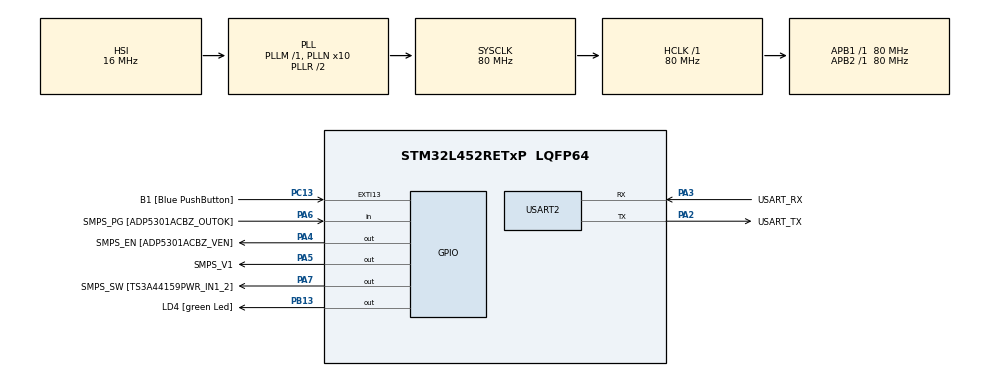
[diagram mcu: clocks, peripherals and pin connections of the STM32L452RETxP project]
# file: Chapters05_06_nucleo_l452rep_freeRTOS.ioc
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FREERTOS.Tasks01=defaultTask,24,128,StartDefaultTask,Default,NULL,Dynamic,NULL,NULL
Mcu.Family=STM32L4
Mcu.Name=STM32L452RETxP
Mcu.Package=LQFP64
NVIC.PriorityGroup=NVIC_PRIORITYGROUP_4
PA13\ (JTMS/SWDIO).GPIO_Label=TMS
PA13\ (JTMS/SWDIO).Mode=Serial_Wire
PA13\ (JTMS/SWDIO).Signal=SYS_JTMS-SWDIO
PA14\ (JTCK/SWCLK).GPIO_Label=TCK
PA14\ (JTCK/SWCLK).Mode=Serial_Wire
PA14\ (JTCK/SWCLK).Signal=SYS_JTCK-SWCLK
PA2.GPIO_Label=USART_TX
PA2.GPIO_Mode=GPIO_MODE_AF_PP
PA2.GPIO_PuPd=GPIO_NOPULL
PA2.GPIO_Speed=GPIO_SPEED_FREQ_VERY_HIGH
PA2.Mode=Asynchronous
PA2.Signal=USART2_TX
PA3.GPIO_Label=USART_RX
PA3.GPIO_Mode=GPIO_MODE_AF_PP
PA3.GPIO_PuPd=GPIO_NOPULL
PA3.GPIO_Speed=GPIO_SPEED_FREQ_VERY_HIGH
PA3.Mode=Asynchronous
PA3.Signal=USART2_RX
PA4.GPIO_Label=SMPS_EN [ADP5301ACBZ_VEN]
PA4.Signal=GPIO_Output
PA5.GPIO_Label=SMPS_V1
PA5.GPIO_ModeDefaultOutputPP=GPIO_MODE_OUTPUT_PP
PA5.GPIO_PuPd=GPIO_NOPULL
PA5.GPIO_Speed=GPIO_SPEED_FREQ_LOW
PA5.Signal=GPIO_Output
PA6.GPIO_Label=SMPS_PG [ADP5301ACBZ_OUTOK]
PA6.GPIO_PuPd=GPIO_PULLUP
PA6.Signal=GPIO_Input
PA7.GPIO_Label=SMPS_SW [TS3A44159PWR_IN1_2]
PA7.Signal=GPIO_Output
PB13.GPIO_Label=LD4 [green Led]
PB13.Signal=GPIO_Output
PB3\ (JTDO/TRACESWO).GPIO_Label=SWO
PB3\ (JTDO/TRACESWO).Signal=SYS_JTDO-SWO
PC13.GPIO_Label=B1 [Blue PushButton]
PC13.GPIO_ModeDefaultEXTI=GPIO_MODE_IT_FALLING
PC13.GPIO_PuPd=GPIO_NOPULL
PC13.Signal=GPXTI13
PC14-OSC32_IN\ (PC14).Mode=LSE-External-Oscillator
PC14-OSC32_IN\ (PC14).Signal=RCC_OSC32_IN
PC15-OSC32_OUT\ (PC15).Mode=LSE-External-Oscillator
PC15-OSC32_OUT\ (PC15).Signal=RCC_OSC32_OUT
PH0-OSC_IN\ (PH0).GPIO_Label=MCO
PH0-OSC_IN\ (PH0).Mode=HSE-External-Clock-Source
PH0-OSC_IN\ (PH0).Signal=RCC_OSC_IN
PH1-OSC_OUT\ (PH1).Signal=RCC_OSC_OUT
ProjectManager.HeapSize=0x200
ProjectManager.StackSize=0x400
ProjectManager.TargetToolchain=STM32CubeIDE
RCC.ADCFreq_Value=64000000
RCC.AHBFreq_Value=80000000
RCC.APB1Freq_Value=80000000
RCC.APB1TimFreq_Value=80000000
RCC.APB2Freq_Value=80000000
RCC.APB2TimFreq_Value=80000000
RCC.CortexFreq_Value=80000000
RCC.HCLKFreq_Value=80000000
RCC.HSE_VALUE=8000000
RCC.HSI48_VALUE=48000000
RCC.HSI_VALUE=16000000
RCC.MSI_VALUE=4000000
RCC.PLLN=10
RCC.PLLSourceVirtual=RCC_PLLSOURCE_HSI
RCC.PREFETCH_ENABLE=1
RCC.SYSCLKFreq_VALUE=80000000
RCC.SYSCLKSource=RCC_SYSCLKSOURCE_PLLCLK
RCC.USBFreq_Value=64000000
RCC.VCOOutputFreq_Value=160000000
USART2.VirtualMode-Asynchronous=VM_ASYNC
VP_FREERTOS_VS_CMSIS_V2.Mode=CMSIS_V2
board=NUCLEO-L452RE-P

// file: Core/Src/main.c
/* USER CODE BEGIN Header */
/**
  ******************************************************************************
  * @file           : main.c
  * @brief          : Main program body
  ******************************************************************************
  * @attention
  *
  * Copyright (c) 2022 STMicroelectronics.
  * All rights reserved.
  *
  * This software is licensed under terms that can be found in the LICENSE file
  * in the root directory of this software component.
  * If no LICENSE file comes with this software, it is provided AS-IS.
  *
  ******************************************************************************
  */
/* USER CODE END Header */
#include "main.h"
#include "cmsis_os.h"

/* USER CODE BEGIN Includes */
#include "bsp.h"
#include <task.h>
#include <SEGGER_SYSVIEW.h>
/* USER CODE END Includes */

UART_HandleTypeDef huart2;

/* Definitions for defaultTask */
osThreadId_t defaultTaskHandle;
const osThreadAttr_t defaultTask_attributes = {
  .name = "defaultTask",
  .stack_size = 128 * 4,
  .priority = (osPriority_t) osPriorityNormal,
};

void SystemClock_Config(void);
static void MX_GPIO_Init(void);
static void MX_USART2_UART_Init(void);
void StartDefaultTask(void *argument);

int main(void)
{

  /* MCU Configuration--------------------------------------------------------*/

  /* Reset of all peripherals, Initializes the Flash interface and the Systick. */
  HAL_Init();

  /* Configure the system clock */
  SystemClock_Config();

  /* Initialize all configured peripherals */
  MX_GPIO_Init();
  MX_USART2_UART_Init();

  /* Init scheduler */
  osKernelInitialize();

  /* Create the thread(s) */
  /* creation of defaultTask */
  defaultTaskHandle = osThreadNew(StartDefaultTask, NULL, &defaultTask_attributes);

  /* Start scheduler */
  osKernelStart();

  /* We should never get here as control is now taken by the scheduler */
  /* Infinite loop */
  while (1)
  {

  }
}

void SystemClock_Config(void)
{
  RCC_OscInitTypeDef RCC_OscInitStruct = {0};
  RCC_ClkInitTypeDef RCC_ClkInitStruct = {0};

  /** Configure the main internal regulator output voltage
  */
  if (HAL_PWREx_ControlVoltageScaling(PWR_REGULATOR_VOLTAGE_SCALE1) != HAL_OK)
  {
    Error_Handler();
  }
  /** Initializes the RCC Oscillators according to the specified parameters
  * in the RCC_OscInitTypeDef structure.
  */
  RCC_OscInitStruct.OscillatorType = RCC_OSCILLATORTYPE_HSI;
  RCC_OscInitStruct.HSIState = RCC_HSI_ON;
  RCC_OscInitStruct.HSICalibrationValue = RCC_HSICALIBRATION_DEFAULT;
  RCC_OscInitStruct.PLL.PLLState = RCC_PLL_ON;
  RCC_OscInitStruct.PLL.PLLSource = RCC_PLLSOURCE_HSI;
  RCC_OscInitStruct.PLL.PLLM = 1;
  RCC_OscInitStruct.PLL.PLLN = 10;
  RCC_OscInitStruct.PLL.PLLP = RCC_PLLP_DIV7;
  RCC_OscInitStruct.PLL.PLLQ = RCC_PLLQ_DIV2;
  RCC_OscInitStruct.PLL.PLLR = RCC_PLLR_DIV2;
  if (HAL_RCC_OscConfig(&RCC_OscInitStruct) != HAL_OK)
  {
    Error_Handler();
  }
  /** Initializes the CPU, AHB and APB buses clocks
  */
  RCC_ClkInitStruct.ClockType = RCC_CLOCKTYPE_HCLK|RCC_CLOCKTYPE_SYSCLK
                              |RCC_CLOCKTYPE_PCLK1|RCC_CLOCKTYPE_PCLK2;
  RCC_ClkInitStruct.SYSCLKSource = RCC_SYSCLKSOURCE_PLLCLK;
  RCC_ClkInitStruct.AHBCLKDivider = RCC_SYSCLK_DIV1;
  RCC_ClkInitStruct.APB1CLKDivider = RCC_HCLK_DIV1;
  RCC_ClkInitStruct.APB2CLKDivider = RCC_HCLK_DIV1;

  if (HAL_RCC_ClockConfig(&RCC_ClkInitStruct, FLASH_LATENCY_4) != HAL_OK)
  {
    Error_Handler();
  }
}

static void MX_USART2_UART_Init(void)
{

  huart2.Instance = USART2;
  huart2.Init.BaudRate = 115200;
  huart2.Init.WordLength = UART_WORDLENGTH_8B;
  huart2.Init.StopBits = UART_STOPBITS_1;
  huart2.Init.Parity = UART_PARITY_NONE;
  huart2.Init.Mode = UART_MODE_TX_RX;
  huart2.Init.HwFlowCtl = UART_HWCONTROL_NONE;
  huart2.Init.OverSampling = UART_OVERSAMPLING_16;
  huart2.Init.OneBitSampling = UART_ONE_BIT_SAMPLE_DISABLE;
  huart2.AdvancedInit.AdvFeatureInit = UART_ADVFEATURE_NO_INIT;
  if (HAL_UART_Init(&huart2) != HAL_OK)
  {
    Error_Handler();
  }

}

static void MX_GPIO_Init(void)
{
  GPIO_InitTypeDef GPIO_InitStruct = {0};

  /* GPIO Ports Clock Enable */
  __HAL_RCC_GPIOC_CLK_ENABLE();
  __HAL_RCC_GPIOH_CLK_ENABLE();
  __HAL_RCC_GPIOA_CLK_ENABLE();
  __HAL_RCC_GPIOB_CLK_ENABLE();

  /*Configure GPIO pin Output Level */
  HAL_GPIO_WritePin(GPIOA, SMPS_EN_Pin|SMPS_V1_Pin|SMPS_SW_Pin, GPIO_PIN_RESET);

  /*Configure GPIO pin Output Level */
  HAL_GPIO_WritePin(LD4_GPIO_Port, LD4_Pin, GPIO_PIN_RESET);

  /*Configure GPIO pin : B1_Pin */
  GPIO_InitStruct.Pin = B1_Pin;
  GPIO_InitStruct.Mode = GPIO_MODE_IT_FALLING;
  GPIO_InitStruct.Pull = GPIO_NOPULL;
  HAL_GPIO_Init(B1_GPIO_Port, &GPIO_InitStruct);

  /*Configure GPIO pins : SMPS_EN_Pin SMPS_V1_Pin SMPS_SW_Pin */
  GPIO_InitStruct.Pin = SMPS_EN_Pin|SMPS_V1_Pin|SMPS_SW_Pin;
  GPIO_InitStruct.Mode = GPIO_MODE_OUTPUT_PP;
  GPIO_InitStruct.Pull = GPIO_NOPULL;
  GPIO_InitStruct.Speed = GPIO_SPEED_FREQ_LOW;
  HAL_GPIO_Init(GPIOA, &GPIO_InitStruct);

  /*Configure GPIO pin : SMPS_PG_Pin */
  GPIO_InitStruct.Pin = SMPS_PG_Pin;
  GPIO_InitStruct.Mode = GPIO_MODE_INPUT;
  GPIO_InitStruct.Pull = GPIO_PULLUP;
  HAL_GPIO_Init(SMPS_PG_GPIO_Port, &GPIO_InitStruct);

  /*Configure GPIO pin : LD4_Pin */
  GPIO_InitStruct.Pin = LD4_Pin;
  GPIO_InitStruct.Mode = GPIO_MODE_OUTPUT_PP;
  GPIO_InitStruct.Pull = GPIO_NOPULL;
  GPIO_InitStruct.Speed = GPIO_SPEED_FREQ_LOW;
  HAL_GPIO_Init(LD4_GPIO_Port, &GPIO_InitStruct);

}

/* USER CODE BEGIN 4 */
void lookBusy( void );
const static uint32_t stackSize = 128;
void Task1(void *argument)
{
  BSP_LED_Init(LED_GREEN);
  while(1)
  {
//	SEGGER_SYSVIEW_PrintfHost("hey there!\n");
	BSP_LED_Toggle(LED_GREEN);
	//HAL_GPIO_WritePin(LD1_GPIO_Port, LD1_Pin, GPIO_PIN_SET);
	//GreenLed.On();
	vTaskDelay(105/ portTICK_PERIOD_MS);
	BSP_LED_Toggle(LED_GREEN);
	//HAL_GPIO_WritePin(LD1_GPIO_Port, LD1_Pin, GPIO_PIN_RESET);
	//GreenLed.Off();
	vTaskDelay(100/ portTICK_PERIOD_MS);
  }
}
void Task2( void* argument )
{
  BSP_LED_Init(LED_BLUE);
  while(1)
  {
	SEGGER_SYSVIEW_PrintfHost("task 2 says 'Hi!'\n");
	BSP_LED_Toggle(LED_BLUE);
	//HAL_GPIO_WritePin(LD2_GPIO_Port, LD2_Pin, GPIO_PIN_SET);
	//BlueLed.On();
	vTaskDelay(200 / portTICK_PERIOD_MS);
	BSP_LED_Toggle(LED_BLUE);
	//HAL_GPIO_WritePin(LD2_GPIO_Port, LD2_Pin, GPIO_PIN_RESET);
	//BlueLed.Off();
	vTaskDelay(200 / portTICK_PERIOD_MS);
  }
}

void Task3( void* argument )
{
  BSP_LED_Init(LED_BLUE);
  while(1)
  {
	lookBusy();

	SEGGER_SYSVIEW_PrintfHost("task3\n");
	BSP_LED_Toggle(LED_RED);
	//HAL_GPIO_WritePin(LD3_GPIO_Port, LD3_Pin, GPIO_PIN_SET);
	//RedLed.On();
	vTaskDelay(500/ portTICK_PERIOD_MS);
	BSP_LED_Toggle(LED_RED);
	//HAL_GPIO_WritePin(LD3_GPIO_Port, LD3_Pin, GPIO_PIN_RESET);
	//RedLed.Off();
	vTaskDelay(500/ portTICK_PERIOD_MS);
  }
}

void lookBusy( void )
{
  volatile uint32_t __attribute__((unused)) dontCare = 0;
  for(int i = 0; i < 50E3; i++)
  {
	dontCare = i % 4;
  }
  SEGGER_SYSVIEW_PrintfHost("looking busy\n");
}

/* USER CODE END 4 */

void StartDefaultTask(void *argument)
{
  /* USER CODE BEGIN 5 */
  BSP_LED_Init(LED_GREEN);
  if (xTaskCreate(Task1, "task1", stackSize, NULL, tskIDLE_PRIORITY + 2, NULL) != pdPASS)
  {
	while(1);
  }
  if (0 && xTaskCreate(Task2, "task2", stackSize, NULL, tskIDLE_PRIORITY + 1, NULL) != pdPASS)
  {
	while(1);
  }
  if (xTaskCreate(Task3, "task3", stackSize, NULL, tskIDLE_PRIORITY + 1, NULL) != pdPASS)
  {
	while(1);
  }

  /* Infinite loop */
  for(;;)
  {
    osDelay(1);
  }
  /* USER CODE END 5 */
}

void Error_Handler(void)
{
  __disable_irq();
  while (1)
  {
  }
}
